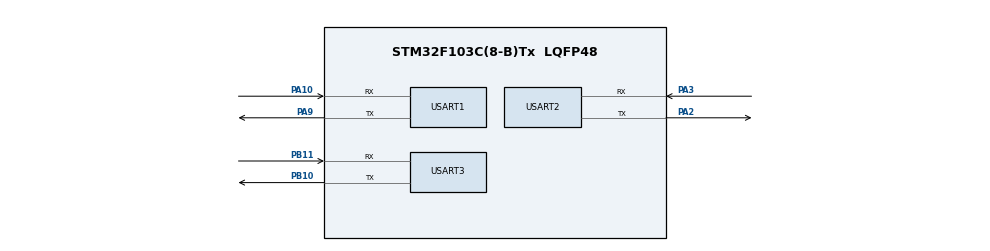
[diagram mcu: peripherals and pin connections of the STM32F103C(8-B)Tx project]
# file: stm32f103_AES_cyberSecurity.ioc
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Mcu.Family=STM32F1
Mcu.Name=STM32F103C(8-B)Tx
Mcu.Package=LQFP48
NVIC.PriorityGroup=NVIC_PRIORITYGROUP_4
NVIC.USART1_IRQn=true\:0\:0\:false\:false\:true\:true\:true\:true
PA10.Mode=Asynchronous
PA10.Signal=USART1_RX
PA2.Mode=Asynchronous
PA2.Signal=USART2_TX
PA3.Mode=Asynchronous
PA3.Signal=USART2_RX
PA9.Mode=Asynchronous
PA9.Signal=USART1_TX
PB10.Mode=Asynchronous
PB10.Signal=USART3_TX
PB11.Mode=Asynchronous
PB11.Signal=USART3_RX
ProjectManager.HeapSize=0x200
ProjectManager.StackSize=0x400
ProjectManager.TargetToolchain=STM32CubeIDE
RCC.APB1Freq_Value=8000000
RCC.APB2Freq_Value=8000000
USART1.VirtualMode=VM_ASYNC
USART2.VirtualMode=VM_ASYNC
USART3.VirtualMode=VM_ASYNC
board=custom

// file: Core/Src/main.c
/* USER CODE BEGIN Header */
/**
 ******************************************************************************
 * @file           : main.c
 * @brief          : Main program body
 ******************************************************************************
 * @attention
 *
 * Copyright (c) 2024 STMicroelectronics.
 * All rights reserved.
 *
 * This software is licensed under terms that can be found in the LICENSE file
 * in the root directory of this software component.
 * If no LICENSE file comes with this software, it is provided AS-IS.
 *
 ******************************************************************************
 */
/* USER CODE END Header */
#include "main.h"

UART_HandleTypeDef huart1;
UART_HandleTypeDef huart2;
UART_HandleTypeDef huart3;

void SystemClock_Config(void);
static void MX_GPIO_Init(void);
static void MX_USART1_UART_Init(void);
static void MX_USART2_UART_Init(void);
static void MX_USART3_UART_Init(void);

int main(void)
{

  /* MCU Configuration--------------------------------------------------------*/

  /* Reset of all peripherals, Initializes the Flash interface and the Systick. */
  HAL_Init();

  /* Configure the system clock */
  SystemClock_Config();

  /* Initialize all configured peripherals */
  MX_GPIO_Init();
  MX_USART1_UART_Init();
  MX_USART2_UART_Init();
  MX_USART3_UART_Init();
  /* USER CODE BEGIN 2 */

	uint8_t key[16] = {0x54,0x77,0x6F,0x20,
			0x4F,0x6E,0x65,0x20,
			0x4E,0x69,0x6E,0x65,
			0x20,0x54,0x77,0x6F};

	uint8_t data[16] = {0x54,0x68,0x61,0x74,
			0x73,0x20,0x6D,0x79,
			0x20,0x4B,0x75,0x6E,
			0x67,0x20,0x46,0x75};
	HAL_UART_Transmit(&huart3, data, 16, HAL_MAX_DELAY);
	uint8_t encryptedData[16] ={0};
	uint8_t decryptedData[16] ={0};
	AES_encrpt(key,data,encryptedData);
	HAL_UART_Transmit(&huart1, encryptedData, 16, HAL_MAX_DELAY);

	AES_decrpt(key, encryptedData,decryptedData );
	HAL_UART_Transmit(&huart2, decryptedData, 16, HAL_MAX_DELAY);

  /* USER CODE END 2 */

  /* Infinite loop */
	while (1)
	{

	}
}

void SystemClock_Config(void)
{
  RCC_OscInitTypeDef RCC_OscInitStruct = {0};
  RCC_ClkInitTypeDef RCC_ClkInitStruct = {0};

  /** Initializes the RCC Oscillators according to the specified parameters
  * in the RCC_OscInitTypeDef structure.
  */
  RCC_OscInitStruct.OscillatorType = RCC_OSCILLATORTYPE_HSI;
  RCC_OscInitStruct.HSIState = RCC_HSI_ON;
  RCC_OscInitStruct.HSICalibrationValue = RCC_HSICALIBRATION_DEFAULT;
  RCC_OscInitStruct.PLL.PLLState = RCC_PLL_NONE;
  if (HAL_RCC_OscConfig(&RCC_OscInitStruct) != HAL_OK)
  {
    Error_Handler();
  }

  /** Initializes the CPU, AHB and APB buses clocks
  */
  RCC_ClkInitStruct.ClockType = RCC_CLOCKTYPE_HCLK|RCC_CLOCKTYPE_SYSCLK
                              |RCC_CLOCKTYPE_PCLK1|RCC_CLOCKTYPE_PCLK2;
  RCC_ClkInitStruct.SYSCLKSource = RCC_SYSCLKSOURCE_HSI;
  RCC_ClkInitStruct.AHBCLKDivider = RCC_SYSCLK_DIV1;
  RCC_ClkInitStruct.APB1CLKDivider = RCC_HCLK_DIV1;
  RCC_ClkInitStruct.APB2CLKDivider = RCC_HCLK_DIV1;

  if (HAL_RCC_ClockConfig(&RCC_ClkInitStruct, FLASH_LATENCY_0) != HAL_OK)
  {
    Error_Handler();
  }
}

static void MX_USART1_UART_Init(void)
{

  huart1.Instance = USART1;
  huart1.Init.BaudRate = 115200;
  huart1.Init.WordLength = UART_WORDLENGTH_8B;
  huart1.Init.StopBits = UART_STOPBITS_1;
  huart1.Init.Parity = UART_PARITY_NONE;
  huart1.Init.Mode = UART_MODE_TX_RX;
  huart1.Init.HwFlowCtl = UART_HWCONTROL_NONE;
  huart1.Init.OverSampling = UART_OVERSAMPLING_16;
  if (HAL_UART_Init(&huart1) != HAL_OK)
  {
    Error_Handler();
  }

}

static void MX_USART2_UART_Init(void)
{

  huart2.Instance = USART2;
  huart2.Init.BaudRate = 115200;
  huart2.Init.WordLength = UART_WORDLENGTH_8B;
  huart2.Init.StopBits = UART_STOPBITS_1;
  huart2.Init.Parity = UART_PARITY_NONE;
  huart2.Init.Mode = UART_MODE_TX_RX;
  huart2.Init.HwFlowCtl = UART_HWCONTROL_NONE;
  huart2.Init.OverSampling = UART_OVERSAMPLING_16;
  if (HAL_UART_Init(&huart2) != HAL_OK)
  {
    Error_Handler();
  }

}

static void MX_USART3_UART_Init(void)
{

  huart3.Instance = USART3;
  huart3.Init.BaudRate = 115200;
  huart3.Init.WordLength = UART_WORDLENGTH_8B;
  huart3.Init.StopBits = UART_STOPBITS_1;
  huart3.Init.Parity = UART_PARITY_NONE;
  huart3.Init.Mode = UART_MODE_TX_RX;
  huart3.Init.HwFlowCtl = UART_HWCONTROL_NONE;
  huart3.Init.OverSampling = UART_OVERSAMPLING_16;
  if (HAL_UART_Init(&huart3) != HAL_OK)
  {
    Error_Handler();
  }

}

static void MX_GPIO_Init(void)
{

  /* GPIO Ports Clock Enable */
  __HAL_RCC_GPIOA_CLK_ENABLE();
  __HAL_RCC_GPIOB_CLK_ENABLE();

}

void Error_Handler(void)
{
	__disable_irq();
	while (1)
	{
	}
}
